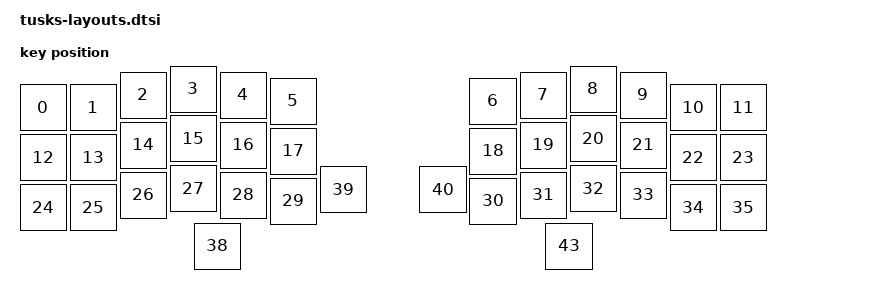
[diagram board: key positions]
#include <physical_layouts.dtsi>

 / {
     physical_layout0: physical_layout_0 {
         compatible = "zmk,physical-layout";
         display-name = "Default";

         keys  //                     w   h    x    y     rot    rx    ry
             = <&key_physical_attrs 100 100    0   36       0     0     0>
             , <&key_physical_attrs 100 100  100   36       0     0     0>
             , <&key_physical_attrs 100 100  200   11       0     0     0>
             , <&key_physical_attrs 100 100  300   -1       0     0     0>
             , <&key_physical_attrs 100 100  400   11       0     0     0>
             , <&key_physical_attrs 100 100  500   23       0     0     0>
             , <&key_physical_attrs 100 100  900   23       0     0     0>
             , <&key_physical_attrs 100 100 1000   11       0     0     0>
             , <&key_physical_attrs 100 100 1100  -1       0     0     0>
             , <&key_physical_attrs 100 100 1200   11       0     0     0>
             , <&key_physical_attrs 100 100 1300   36       0     0     0>
             , <&key_physical_attrs 100 100 1400   36       0     0     0>

             , <&key_physical_attrs 100 100    0  136       0     0     0>
             , <&key_physical_attrs 100 100  100  136       0     0     0>
             , <&key_physical_attrs 100 100  200  111       0     0     0>
             , <&key_physical_attrs 100 100  300   98       0     0     0>
             , <&key_physical_attrs 100 100  400  111       0     0     0>
             , <&key_physical_attrs 100 100  500  123       0     0     0>
             , <&key_physical_attrs 100 100  900  123       0     0     0>
             , <&key_physical_attrs 100 100 1000  111       0     0     0>
             , <&key_physical_attrs 100 100 1100   98       0     0     0>
             , <&key_physical_attrs 100 100 1200  111       0     0     0>
             , <&key_physical_attrs 100 100 1300  136       0     0     0>
             , <&key_physical_attrs 100 100 1400  136       0     0     0>

             , <&key_physical_attrs 100 100    0  236       0     0     0>
             , <&key_physical_attrs 100 100  100  236       0     0     0>
             , <&key_physical_attrs 100 100  200  211       0     0     0>
             , <&key_physical_attrs 100 100  300  198       0     0     0>
             , <&key_physical_attrs 100 100  400  211       0     0     0>
             , <&key_physical_attrs 100 100  500  223       0     0     0>
             , <&key_physical_attrs 100 100  900  223       0     0     0>
             , <&key_physical_attrs 100 100 1000  211       0     0     0>
             , <&key_physical_attrs 100 100 1100  198       0     0     0>
             , <&key_physical_attrs 100 100 1200  211       0     0     0>
             , <&key_physical_attrs 100 100 1300  236       0     0     0>
             , <&key_physical_attrs 100 100 1400  236       0     0     0>

             , <&key_physical_attrs 100 100 348  313       0     0     0>
             , <&key_physical_attrs 100 100 348  313       0     0     0>
             , <&key_physical_attrs 100 100 348  313       0     0     0>
             , <&key_physical_attrs 100 100 600  200       0     0     0>

             , <&key_physical_attrs 100 100 800  200       0     0     0>
             , <&key_physical_attrs 100 100 1052  313       0     0     0>
             , <&key_physical_attrs 100 100 1052  313       0     0     0>
             , <&key_physical_attrs 100 100 1052  313       0     0     0>
         ;
     };
 };
